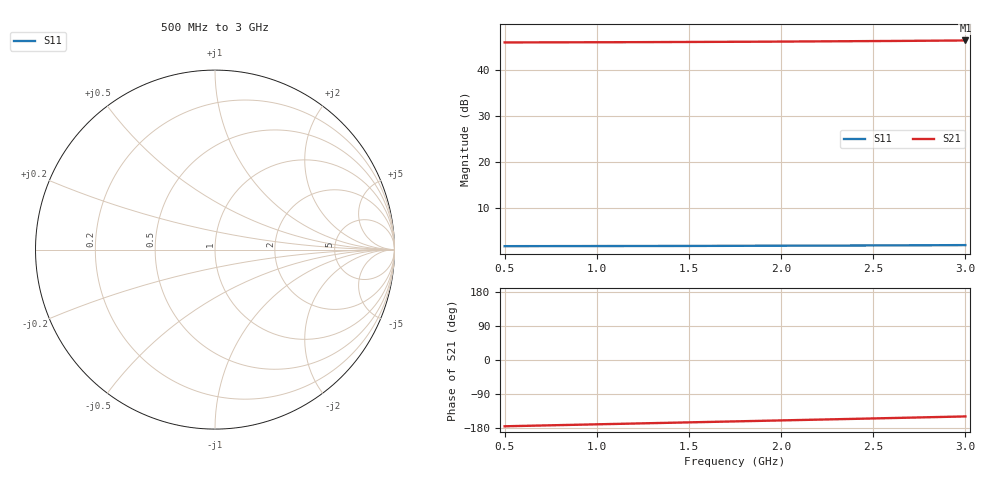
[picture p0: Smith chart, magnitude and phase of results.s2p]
! rfsim (KiCad + openEMS)
# HZ S RI R 50
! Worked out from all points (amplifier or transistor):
!   251 points, 500 MHz to 3 GHz, reference 50 ohm
!   highest |S21| = 46.4 dB at 3 GHz (marker M1)
!   |S21| within 3 dB of that: start of sweep to end of sweep
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5e8  -1.233 0.0232  -198.8 -17.69  0 0  0 0
7.1e8  -1.234 0.0329  -198.2 -25.14  0 0  0 0
9.2e8  -1.235 0.0427  -197.5 -32.6  0 0  0 0
1.03e9  -1.235 0.0478  -197.1 -36.52  0 0  0 0
1.13e9  -1.236 0.0525  -196.6 -40.08  0 0  0 0
1.24e9  -1.236 0.0576  -196.1 -44.01  0 0  0 0
1.34e9  -1.237 0.0623  -195.5 -47.59  0 0  0 0
1.45e9  -1.238 0.0675  -194.9 -51.53  0 0  0 0
1.55e9  -1.239 0.0722  -194.3 -55.12  0 0  0 0
1.75e9  -1.241 0.0816  -192.9 -62.33  0 0  0 0
1.86e9  -1.242 0.0868  -192 -66.31  0 0  0 0
1.96e9  -1.243 0.0916  -191.2 -69.94  0 0  0 0
2.07e9  -1.244 0.0968  -190.2 -73.94  0 0  0 0
2.17e9  -1.245 0.1016  -189.3 -77.58  0 0  0 0
2.28e9  -1.247 0.1068  -188.2 -81.61  0 0  0 0
2.38e9  -1.248 0.1116  -187.2 -85.28  0 0  0 0
2.49e9  -1.25 0.1169  -186 -89.33  0 0  0 0
2.59e9  -1.251 0.1218  -184.8 -93.02  0 0  0 0
2.7e9  -1.253 0.1271  -183.5 -97.1  0 0  0 0
2.8e9  -1.255 0.132  -182.2 -100.8  0 0  0 0
2.9e9  -1.256 0.1369  -180.9 -104.5  0 0  0 0
3e9  -1.258 0.1418  -179.5 -108.3  0 0  0 0
